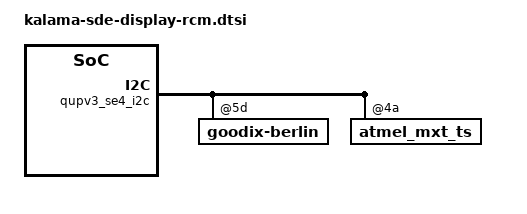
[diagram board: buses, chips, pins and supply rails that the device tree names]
#include "kalama-sde-display-cdp.dtsi"

&sde_dsi {
	qcom,dsi-default-panel = <&dsi_sharp_qhd_plus_dsc_cmd>;
};

&qupv3_se4_i2c {
	goodix-berlin@5d {
		panel = <&dsi_vtdr6130_amoled_cmd
			&dsi_vtdr6130_amoled_video>;
	};

	atmel_mxt_ts@4a {
		panel = <&dsi_sharp_qhd_plus_dsc_cmd>;
	};
};
